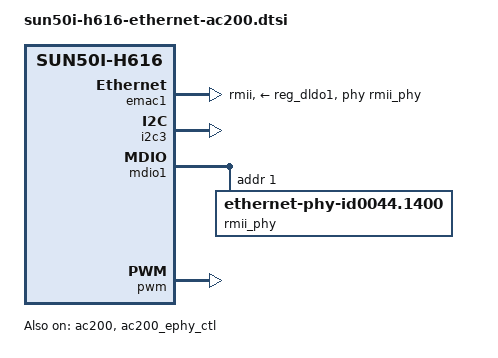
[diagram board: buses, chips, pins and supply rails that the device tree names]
//SPDX-License-Identifier: GPL-2.0+ or MIT
//Copyright (C) 2026-present Team LibreELEC (https://libreelec.tv)

/*
 * EMAC1 with the AC200 EPHY integrated in some H616 family SoCs. The board
 * has to provide reg_dldo1 (3.3 V) and reg_aldo1 (1.8 V). On boards with
 * CONFIG_SUNXI_H616_INTERNAL_EPHY, U-Boot switches to the AC300 EPHY when
 * the SID reports one, otherwise use the AC300 overlay instead if Ethernet
 * doesn't come up.
 */

&{/aliases} {
	ethernet0 = "/soc/ethernet@5030000";
};

&ac200 {
	ac-ldoin-supply = <&reg_dldo1>;
	ephy-vcc-supply = <&reg_dldo1>;
	rtc-vcc-supply = <&reg_dldo1>;
	tv-vcc-supply = <&reg_aldo1>;
	status = "okay";
};

&ac200_ephy_ctl {
	phy-mode = "rmii";
	x-powers,phy-address = <1>;
	status = "okay";
};

&ac200_pwm_clk {
	status = "okay";
};

&ac300_ephy_package {
	vcc-supply = <&reg_dldo1>;
};

&emac1 {
	pinctrl-names = "default";
	pinctrl-0 = <&rmii_pins>;
	phy-mode = "rmii";
	phy-handle = <&rmii_phy>;
	phy-supply = <&reg_dldo1>;
	allwinner,rx-delay-ps = <3100>;
	allwinner,tx-delay-ps = <700>;
	status = "okay";
};

&i2c3 {
	pinctrl-names = "default";
	pinctrl-0 = <&i2c3_pa_pins>;
	status = "okay";
};

&mdio1 {
	#address-cells = <1>;
	#size-cells = <0>;

	rmii_phy: ethernet-phy@1 {
		compatible = "ethernet-phy-id0044.1400",
			     "ethernet-phy-ieee802.3-c22";
		reg = <1>;
		clocks = <&ac200_ephy_ctl>;
		resets = <&ac200_ephy_ctl>;
		reset-names = "phy";
	};
};

&pwm {
	status = "okay";
};
